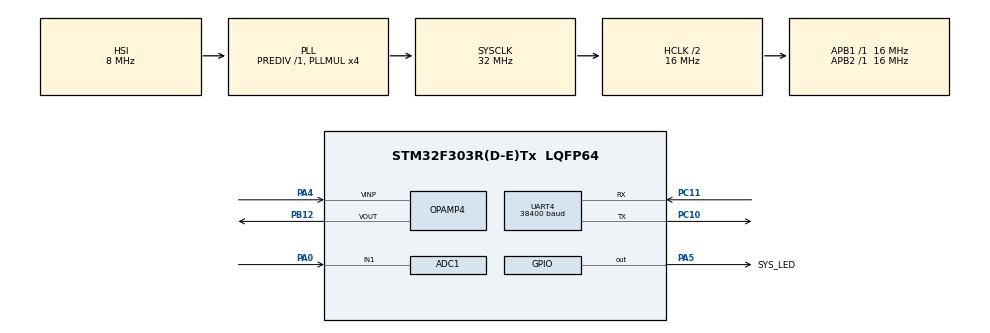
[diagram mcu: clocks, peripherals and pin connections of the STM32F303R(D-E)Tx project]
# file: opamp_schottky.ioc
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ADC1.Channel-3\#ChannelRegularConversion=ADC_CHANNEL_1
ADC1.ContinuousConvMode=DISABLE
ADC1.DMAContinuousRequests=DISABLE
ADC1.ExternalTrigConv=ADC_EXTERNALTRIGCONV_T2_TRGO
ADC1.NbrOfConversionFlag=1
ADC1.Offset-3\#ChannelRegularConversion=0
ADC1.OffsetNumber-3\#ChannelRegularConversion=ADC_OFFSET_NONE
ADC1.Rank-3\#ChannelRegularConversion=1
ADC1.SamplingTime-3\#ChannelRegularConversion=ADC_SAMPLETIME_1CYCLE_5
ADC1.SamplingTimeOPAMP-3\#ChannelRegularConversion=ADC_SAMPLETIME_7CYCLES_5
ADC1.master=1
ADC4.Channel-0\#ChannelRegularConversion=ADC_CHANNEL_3
ADC4.ContinuousConvMode=ENABLE
ADC4.NbrOfConversionFlag=1
ADC4.Offset-0\#ChannelRegularConversion=0
ADC4.OffsetNumber-0\#ChannelRegularConversion=ADC_OFFSET_NONE
ADC4.Rank-0\#ChannelRegularConversion=1
ADC4.SamplingTime-0\#ChannelRegularConversion=ADC_SAMPLETIME_19CYCLES_5
ADC4.SamplingTimeOPAMP-0\#ChannelRegularConversion=ADC_SAMPLETIME_19CYCLES_5
Dma.ADC1.0.Direction=DMA_PERIPH_TO_MEMORY
Dma.ADC1.0.Instance=DMA1_Channel1
Dma.ADC1.0.MemDataAlignment=DMA_MDATAALIGN_HALFWORD
Dma.ADC1.0.MemInc=DMA_MINC_ENABLE
Dma.ADC1.0.Mode=DMA_CIRCULAR
Dma.ADC1.0.PeriphDataAlignment=DMA_PDATAALIGN_HALFWORD
Dma.ADC1.0.PeriphInc=DMA_PINC_DISABLE
Dma.ADC1.0.Priority=DMA_PRIORITY_VERY_HIGH
Dma.Request0=ADC1
IWDG.Prescaler=IWDG_PRESCALER_256
Mcu.Family=STM32F3
Mcu.Name=STM32F303R(D-E)Tx
Mcu.Package=LQFP64
NVIC.DMA1_Channel1_IRQn=true\:0\:0\:false\:false\:true\:false\:true\:true
NVIC.PriorityGroup=NVIC_PRIORITYGROUP_4
NVIC.TIM6_DAC_IRQn=true\:10\:0\:true\:false\:true\:true\:true\:true
NVIC.TIM7_IRQn=true\:11\:0\:true\:false\:true\:true\:true\:true
PA0.Mode=IN1-Single-Ended
PA0.Signal=ADC1_IN1
PA13.Mode=Serial_Wire
PA13.Signal=SYS_JTMS-SWDIO
PA14.Mode=Serial_Wire
PA14.Signal=SYS_JTCK-SWCLK
PA4.Mode=PGA Not Connected
PA4.Signal=OPAMP4_VINP
PA5.GPIO_Label=SYS_LED
PA5.Signal=GPIO_Output
PB12.Signal=SharedAnalog_PB12
PC10.Mode=Asynchronous
PC10.Signal=UART4_TX
PC11.Mode=Asynchronous
PC11.Signal=UART4_RX
ProjectManager.HeapSize=0x200
ProjectManager.StackSize=0x400
ProjectManager.TargetToolchain=STM32CubeIDE
RCC.ADC34PRES=RCC_ADC34PLLCLK_DIV4
RCC.AHBCLKDivider=RCC_SYSCLK_DIV2
RCC.AHBFreq_Value=16000000
RCC.APB1Freq_Value=16000000
RCC.APB1TimFreq_Value=16000000
RCC.APB2Freq_Value=16000000
RCC.APB2TimFreq_Value=16000000
RCC.CortexFreq_Value=16000000
RCC.HCLKFreq_Value=16000000
RCC.HSE_VALUE=8000000
RCC.HSI_VALUE=8000000
RCC.LSE_VALUE=32768
RCC.PLLMUL=RCC_PLL_MUL4
RCC.SYSCLKFreq_VALUE=32000000
RCC.SYSCLKSourceVirtual=RCC_SYSCLKSOURCE_PLLCLK
RCC.USBFreq_Value=32000000
SH.SharedAnalog_PB12.0=ADC4_IN3
SH.SharedAnalog_PB12.1=OPAMP4_VOUT,PGA Not Connected
TIM2.Period=10 - 1
TIM2.Prescaler=1600 - 1
TIM2.TIM_MasterOutputTrigger=TIM_TRGO_UPDATE
TIM2.TIM_MasterSlaveMode=TIM_MASTERSLAVEMODE_ENABLE
TIM6.Period=200 - 1
TIM6.Prescaler=800 - 1
TIM7.Period=500 - 1
TIM7.Prescaler=1600 - 1
UART4.BaudRate=38400
VP_ADC4_OPAMP_OUT4.Mode=IN3-OPAMP4-Single-Ended
VP_IWDG_VS_IWDG.Mode=IWDG_Activate
VP_TIM2_VS_ClockSourceINT.Mode=Internal
VP_TIM6_VS_ClockSourceINT.Mode=Enable_Timer
VP_TIM7_VS_ClockSourceINT.Mode=Enable_Timer
board=custom

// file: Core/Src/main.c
/* USER CODE BEGIN Header */
/**
  ******************************************************************************
  * @file           : main.c
  * @brief          : Main program body
  ******************************************************************************
  * @attention
  *
  * Copyright (c) 2022 STMicroelectronics.
  * All rights reserved.
  *
  * This software is licensed under terms that can be found in the LICENSE file
  * in the root directory of this software component.
  * If no LICENSE file comes with this software, it is provided AS-IS.
  *
  ******************************************************************************
  */
/* USER CODE END Header */
#include "main.h"

/* USER CODE BEGIN Includes */
#include "dev/dev_process.h"
#include "dev/dev_led_status.h"
#include "string.h"
#include "stdio.h"

/* USER CODE END Includes */

ADC_HandleTypeDef hadc1;
ADC_HandleTypeDef hadc4;
DMA_HandleTypeDef hdma_adc1;

IWDG_HandleTypeDef hiwdg;

OPAMP_HandleTypeDef hopamp4;

TIM_HandleTypeDef htim2;
TIM_HandleTypeDef htim6;
TIM_HandleTypeDef htim7;

UART_HandleTypeDef huart4;

/* USER CODE BEGIN PV */

extern uint16_t dma_values[1000];
dev_status_t proc_status = STARTUP;

/* USER CODE END PV */

void SystemClock_Config(void);
static void MX_GPIO_Init(void);
static void MX_DMA_Init(void);
static void MX_ADC1_Init(void);
static void MX_OPAMP4_Init(void);
static void MX_ADC4_Init(void);
static void MX_TIM6_Init(void);
static void MX_IWDG_Init(void);
static void MX_TIM7_Init(void);
static void MX_UART4_Init(void);
static void MX_TIM2_Init(void);
/* USER CODE BEGIN PFP */

HAL_StatusTypeDef HAL_IWDG_Refresh(IWDG_HandleTypeDef *hiwdg);

/* USER CODE END PFP */

/* USER CODE BEGIN 0 */

void HAL_TIM_PeriodElapsedCallback(TIM_HandleTypeDef *htim){
	if(htim == &htim6 && proc_status != DMA_MEAS) {
		vDev_process();
	}

	else if(htim == &htim7) {
		vLed_indicator(proc_status);

	}
}

void HAL_ADC_ConvCpltCallback(ADC_HandleTypeDef* hadc) {
	HAL_ADC_Stop_DMA(&hadc1);
	proc_status = DATA_PROC;
}

/* USER CODE END 0 */

int main(void)
{

  /* MCU Configuration--------------------------------------------------------*/

  /* Reset of all peripherals, Initializes the Flash interface and the Systick. */
  HAL_Init();

  /* Configure the system clock */
  SystemClock_Config();

  /* Initialize all configured peripherals */
  MX_GPIO_Init();
  MX_DMA_Init();
  MX_ADC1_Init();
  MX_OPAMP4_Init();
  MX_ADC4_Init();
  MX_TIM6_Init();
  MX_IWDG_Init();
  MX_TIM7_Init();
  MX_UART4_Init();
  MX_TIM2_Init();
  /* USER CODE BEGIN 2 */

  vLed_indicator(proc_status);

  HAL_Delay(500);

  HAL_ADCEx_Calibration_Start(&hadc1, HAL_MAX_DELAY);
  //HAL_ADC_Start(&hadc1);

  HAL_ADCEx_Calibration_Start(&hadc4, ADC_SINGLE_ENDED);
  HAL_ADC_Start(&hadc4);

  HAL_OPAMP_SelfCalibrate(&hopamp4);
  HAL_OPAMP_Start(&hopamp4);

  HAL_TIM_Base_Start_IT(&htim6);
  HAL_TIM_Base_Start_IT(&htim7);

  HAL_TIM_Base_Start_IT(&htim2);
  //HAL_ADC_Start_DMA(&hadc1, (uint32_t*)dma_values, 4096);
  /* USER CODE END 2 */

  /* Infinite loop */
  /* USER CODE BEGIN WHILE */
  while (1)
  {

	  HAL_IWDG_Refresh(&hiwdg);

    /* USER CODE END WHILE */

  }
}

void SystemClock_Config(void)
{
  RCC_OscInitTypeDef RCC_OscInitStruct = {0};
  RCC_ClkInitTypeDef RCC_ClkInitStruct = {0};
  RCC_PeriphCLKInitTypeDef PeriphClkInit = {0};

  /** Initializes the RCC Oscillators according to the specified parameters
  * in the RCC_OscInitTypeDef structure.
  */
  RCC_OscInitStruct.OscillatorType = RCC_OSCILLATORTYPE_HSI|RCC_OSCILLATORTYPE_LSI;
  RCC_OscInitStruct.HSIState = RCC_HSI_ON;
  RCC_OscInitStruct.HSICalibrationValue = RCC_HSICALIBRATION_DEFAULT;
  RCC_OscInitStruct.LSIState = RCC_LSI_ON;
  RCC_OscInitStruct.PLL.PLLState = RCC_PLL_ON;
  RCC_OscInitStruct.PLL.PLLSource = RCC_PLLSOURCE_HSI;
  RCC_OscInitStruct.PLL.PLLMUL = RCC_PLL_MUL4;
  RCC_OscInitStruct.PLL.PREDIV = RCC_PREDIV_DIV1;
  if (HAL_RCC_OscConfig(&RCC_OscInitStruct) != HAL_OK)
  {
    Error_Handler();
  }

  /** Initializes the CPU, AHB and APB buses clocks
  */
  RCC_ClkInitStruct.ClockType = RCC_CLOCKTYPE_HCLK|RCC_CLOCKTYPE_SYSCLK
                              |RCC_CLOCKTYPE_PCLK1|RCC_CLOCKTYPE_PCLK2;
  RCC_ClkInitStruct.SYSCLKSource = RCC_SYSCLKSOURCE_PLLCLK;
  RCC_ClkInitStruct.AHBCLKDivider = RCC_SYSCLK_DIV2;
  RCC_ClkInitStruct.APB1CLKDivider = RCC_HCLK_DIV1;
  RCC_ClkInitStruct.APB2CLKDivider = RCC_HCLK_DIV1;

  if (HAL_RCC_ClockConfig(&RCC_ClkInitStruct, FLASH_LATENCY_0) != HAL_OK)
  {
    Error_Handler();
  }
  PeriphClkInit.PeriphClockSelection = RCC_PERIPHCLK_UART4|RCC_PERIPHCLK_ADC12
                              |RCC_PERIPHCLK_ADC34|RCC_PERIPHCLK_TIM2;
  PeriphClkInit.Uart4ClockSelection = RCC_UART4CLKSOURCE_PCLK1;
  PeriphClkInit.Adc12ClockSelection = RCC_ADC12PLLCLK_DIV1;
  PeriphClkInit.Adc34ClockSelection = RCC_ADC34PLLCLK_DIV4;
  PeriphClkInit.Tim2ClockSelection = RCC_TIM2CLK_HCLK;
  if (HAL_RCCEx_PeriphCLKConfig(&PeriphClkInit) != HAL_OK)
  {
    Error_Handler();
  }
}

static void MX_ADC1_Init(void)
{

  ADC_MultiModeTypeDef multimode = {0};
  ADC_ChannelConfTypeDef sConfig = {0};

  /** Common config
  */
  hadc1.Instance = ADC1;
  hadc1.Init.ClockPrescaler = ADC_CLOCK_ASYNC_DIV1;
  hadc1.Init.Resolution = ADC_RESOLUTION_12B;
  hadc1.Init.ScanConvMode = ADC_SCAN_DISABLE;
  hadc1.Init.ContinuousConvMode = DISABLE;
  hadc1.Init.DiscontinuousConvMode = DISABLE;
  hadc1.Init.ExternalTrigConvEdge = ADC_EXTERNALTRIGCONVEDGE_RISING;
  hadc1.Init.ExternalTrigConv = ADC_EXTERNALTRIGCONV_T2_TRGO;
  hadc1.Init.DataAlign = ADC_DATAALIGN_RIGHT;
  hadc1.Init.NbrOfConversion = 1;
  hadc1.Init.DMAContinuousRequests = DISABLE;
  hadc1.Init.EOCSelection = ADC_EOC_SINGLE_CONV;
  hadc1.Init.LowPowerAutoWait = DISABLE;
  hadc1.Init.Overrun = ADC_OVR_DATA_OVERWRITTEN;
  if (HAL_ADC_Init(&hadc1) != HAL_OK)
  {
    Error_Handler();
  }

  /** Configure the ADC multi-mode
  */
  multimode.Mode = ADC_MODE_INDEPENDENT;
  if (HAL_ADCEx_MultiModeConfigChannel(&hadc1, &multimode) != HAL_OK)
  {
    Error_Handler();
  }

  /** Configure Regular Channel
  */
  sConfig.Channel = ADC_CHANNEL_1;
  sConfig.Rank = ADC_REGULAR_RANK_1;
  sConfig.SingleDiff = ADC_SINGLE_ENDED;
  sConfig.SamplingTime = ADC_SAMPLETIME_1CYCLE_5;
  sConfig.OffsetNumber = ADC_OFFSET_NONE;
  sConfig.Offset = 0;
  if (HAL_ADC_ConfigChannel(&hadc1, &sConfig) != HAL_OK)
  {
    Error_Handler();
  }

}

static void MX_ADC4_Init(void)
{

  ADC_ChannelConfTypeDef sConfig = {0};

  /** Common config
  */
  hadc4.Instance = ADC4;
  hadc4.Init.ClockPrescaler = ADC_CLOCK_ASYNC_DIV1;
  hadc4.Init.Resolution = ADC_RESOLUTION_12B;
  hadc4.Init.ScanConvMode = ADC_SCAN_DISABLE;
  hadc4.Init.ContinuousConvMode = ENABLE;
  hadc4.Init.DiscontinuousConvMode = DISABLE;
  hadc4.Init.ExternalTrigConvEdge = ADC_EXTERNALTRIGCONVEDGE_NONE;
  hadc4.Init.ExternalTrigConv = ADC_SOFTWARE_START;
  hadc4.Init.DataAlign = ADC_DATAALIGN_RIGHT;
  hadc4.Init.NbrOfConversion = 1;
  hadc4.Init.DMAContinuousRequests = DISABLE;
  hadc4.Init.EOCSelection = ADC_EOC_SINGLE_CONV;
  hadc4.Init.LowPowerAutoWait = DISABLE;
  hadc4.Init.Overrun = ADC_OVR_DATA_OVERWRITTEN;
  if (HAL_ADC_Init(&hadc4) != HAL_OK)
  {
    Error_Handler();
  }

  /** Configure Regular Channel
  */
  sConfig.Channel = ADC_CHANNEL_3;
  sConfig.Rank = ADC_REGULAR_RANK_1;
  sConfig.SingleDiff = ADC_SINGLE_ENDED;
  sConfig.SamplingTime = ADC_SAMPLETIME_19CYCLES_5;
  sConfig.OffsetNumber = ADC_OFFSET_NONE;
  sConfig.Offset = 0;
  if (HAL_ADC_ConfigChannel(&hadc4, &sConfig) != HAL_OK)
  {
    Error_Handler();
  }

}

static void MX_IWDG_Init(void)
{

  hiwdg.Instance = IWDG;
  hiwdg.Init.Prescaler = IWDG_PRESCALER_256;
  hiwdg.Init.Window = 4095;
  hiwdg.Init.Reload = 4095;
  if (HAL_IWDG_Init(&hiwdg) != HAL_OK)
  {
    Error_Handler();
  }

}

static void MX_OPAMP4_Init(void)
{

  hopamp4.Instance = OPAMP4;
  hopamp4.Init.Mode = OPAMP_PGA_MODE;
  hopamp4.Init.NonInvertingInput = OPAMP_NONINVERTINGINPUT_IO2;
  hopamp4.Init.TimerControlledMuxmode = OPAMP_TIMERCONTROLLEDMUXMODE_DISABLE;
  hopamp4.Init.PgaConnect = OPAMP_PGA_CONNECT_INVERTINGINPUT_NO;
  hopamp4.Init.PgaGain = OPAMP_PGA_GAIN_2;
  hopamp4.Init.UserTrimming = OPAMP_TRIMMING_FACTORY;
  if (HAL_OPAMP_Init(&hopamp4) != HAL_OK)
  {
    Error_Handler();
  }

}

static void MX_TIM2_Init(void)
{

  TIM_ClockConfigTypeDef sClockSourceConfig = {0};
  TIM_MasterConfigTypeDef sMasterConfig = {0};

  htim2.Instance = TIM2;
  htim2.Init.Prescaler = 1600 - 1;
  htim2.Init.CounterMode = TIM_COUNTERMODE_UP;
  htim2.Init.Period = 10 - 1;
  htim2.Init.ClockDivision = TIM_CLOCKDIVISION_DIV1;
  htim2.Init.AutoReloadPreload = TIM_AUTORELOAD_PRELOAD_DISABLE;
  if (HAL_TIM_Base_Init(&htim2) != HAL_OK)
  {
    Error_Handler();
  }
  sClockSourceConfig.ClockSource = TIM_CLOCKSOURCE_INTERNAL;
  if (HAL_TIM_ConfigClockSource(&htim2, &sClockSourceConfig) != HAL_OK)
  {
    Error_Handler();
  }
  sMasterConfig.MasterOutputTrigger = TIM_TRGO_UPDATE;
  sMasterConfig.MasterSlaveMode = TIM_MASTERSLAVEMODE_ENABLE;
  if (HAL_TIMEx_MasterConfigSynchronization(&htim2, &sMasterConfig) != HAL_OK)
  {
    Error_Handler();
  }

}

static void MX_TIM6_Init(void)
{

  TIM_MasterConfigTypeDef sMasterConfig = {0};

  htim6.Instance = TIM6;
  htim6.Init.Prescaler = 800 - 1;
  htim6.Init.CounterMode = TIM_COUNTERMODE_UP;
  htim6.Init.Period = 200 - 1;
  htim6.Init.AutoReloadPreload = TIM_AUTORELOAD_PRELOAD_DISABLE;
  if (HAL_TIM_Base_Init(&htim6) != HAL_OK)
  {
    Error_Handler();
  }
  sMasterConfig.MasterOutputTrigger = TIM_TRGO_RESET;
  sMasterConfig.MasterSlaveMode = TIM_MASTERSLAVEMODE_DISABLE;
  if (HAL_TIMEx_MasterConfigSynchronization(&htim6, &sMasterConfig) != HAL_OK)
  {
    Error_Handler();
  }

}

static void MX_TIM7_Init(void)
{

  TIM_MasterConfigTypeDef sMasterConfig = {0};

  htim7.Instance = TIM7;
  htim7.Init.Prescaler = 1600 - 1;
  htim7.Init.CounterMode = TIM_COUNTERMODE_UP;
  htim7.Init.Period = 500 - 1;
  htim7.Init.AutoReloadPreload = TIM_AUTORELOAD_PRELOAD_DISABLE;
  if (HAL_TIM_Base_Init(&htim7) != HAL_OK)
  {
    Error_Handler();
  }
  sMasterConfig.MasterOutputTrigger = TIM_TRGO_RESET;
  sMasterConfig.MasterSlaveMode = TIM_MASTERSLAVEMODE_DISABLE;
  if (HAL_TIMEx_MasterConfigSynchronization(&htim7, &sMasterConfig) != HAL_OK)
  {
    Error_Handler();
  }

}

static void MX_UART4_Init(void)
{

  huart4.Instance = UART4;
  huart4.Init.BaudRate = 38400;
  huart4.Init.WordLength = UART_WORDLENGTH_8B;
  huart4.Init.StopBits = UART_STOPBITS_1;
  huart4.Init.Parity = UART_PARITY_NONE;
  huart4.Init.Mode = UART_MODE_TX_RX;
  huart4.Init.HwFlowCtl = UART_HWCONTROL_NONE;
  huart4.Init.OverSampling = UART_OVERSAMPLING_16;
  huart4.Init.OneBitSampling = UART_ONE_BIT_SAMPLE_DISABLE;
  huart4.AdvancedInit.AdvFeatureInit = UART_ADVFEATURE_NO_INIT;
  if (HAL_UART_Init(&huart4) != HAL_OK)
  {
    Error_Handler();
  }

}

static void MX_DMA_Init(void)
{

  /* DMA controller clock enable */
  __HAL_RCC_DMA1_CLK_ENABLE();

  /* DMA interrupt init */
  /* DMA1_Channel1_IRQn interrupt configuration */
  HAL_NVIC_SetPriority(DMA1_Channel1_IRQn, 0, 0);
  HAL_NVIC_EnableIRQ(DMA1_Channel1_IRQn);

}

static void MX_GPIO_Init(void)
{
  GPIO_InitTypeDef GPIO_InitStruct = {0};

  /* GPIO Ports Clock Enable */
  __HAL_RCC_GPIOA_CLK_ENABLE();
  __HAL_RCC_GPIOB_CLK_ENABLE();
  __HAL_RCC_GPIOC_CLK_ENABLE();

  /*Configure GPIO pin Output Level */
  HAL_GPIO_WritePin(SYS_LED_GPIO_Port, SYS_LED_Pin, GPIO_PIN_RESET);

  /*Configure GPIO pin : SYS_LED_Pin */
  GPIO_InitStruct.Pin = SYS_LED_Pin;
  GPIO_InitStruct.Mode = GPIO_MODE_OUTPUT_PP;
  GPIO_InitStruct.Pull = GPIO_NOPULL;
  GPIO_InitStruct.Speed = GPIO_SPEED_FREQ_LOW;
  HAL_GPIO_Init(SYS_LED_GPIO_Port, &GPIO_InitStruct);

}

void Error_Handler(void)
{
  __disable_irq();
  while (1)
  {
  }
}
